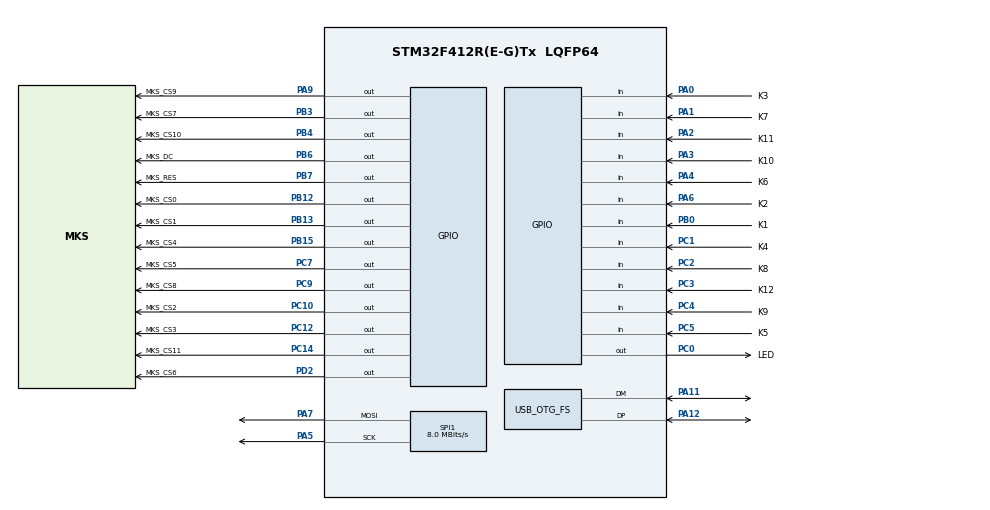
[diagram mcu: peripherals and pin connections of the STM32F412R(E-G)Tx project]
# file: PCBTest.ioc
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Mcu.Family=STM32F4
Mcu.Name=STM32F412R(E-G)Tx
Mcu.Package=LQFP64
NVIC.OTG_FS_IRQn=true\:0\:0\:false\:false\:true\:false\:true
NVIC.PriorityGroup=NVIC_PRIORITYGROUP_4
PA0.GPIO_Label=K3
PA0.GPIO_PuPd=GPIO_PULLUP
PA0.Signal=GPIO_Input
PA1.GPIO_Label=K7
PA1.GPIO_PuPd=GPIO_PULLUP
PA1.Signal=GPIO_Input
PA11.Mode=Device_Only
PA11.Signal=USB_OTG_FS_DM
PA12.Mode=Device_Only
PA12.Signal=USB_OTG_FS_DP
PA13.Mode=Serial_Wire
PA13.Signal=SYS_JTMS-SWDIO
PA14.Mode=Serial_Wire
PA14.Signal=SYS_JTCK-SWCLK
PA2.GPIO_Label=K11
PA2.GPIO_PuPd=GPIO_PULLUP
PA2.Signal=GPIO_Input
PA3.GPIO_Label=K10
PA3.GPIO_PuPd=GPIO_PULLUP
PA3.Signal=GPIO_Input
PA4.GPIO_Label=K6
PA4.GPIO_PuPd=GPIO_PULLUP
PA4.Signal=GPIO_Input
PA5.Mode=TX_Only_Simplex_Unidirect_Master
PA5.Signal=SPI1_SCK
PA6.GPIO_Label=K2
PA6.GPIO_PuPd=GPIO_PULLUP
PA6.Signal=GPIO_Input
PA7.Mode=TX_Only_Simplex_Unidirect_Master
PA7.Signal=SPI1_MOSI
PA9.GPIO_Label=MKS_CS9
PA9.Signal=GPIO_Output
PB0.GPIO_Label=K1
PB0.GPIO_PuPd=GPIO_PULLUP
PB0.Signal=GPIO_Input
PB12.GPIO_Label=MKS_CS0
PB12.Signal=GPIO_Output
PB13.GPIO_Label=MKS_CS1
PB13.Signal=GPIO_Output
PB15.GPIO_Label=MKS_CS4
PB15.Signal=GPIO_Output
PB3.GPIO_Label=MKS_CS7
PB3.Signal=GPIO_Output
PB4.GPIO_Label=MKS_CS10
PB4.Signal=GPIO_Output
PB6.GPIO_Label=MKS_DC
PB6.Signal=GPIO_Output
PB7.GPIO_Label=MKS_RES
PB7.Signal=GPIO_Output
PC0.GPIO_Label=LED
PC0.Signal=GPIO_Output
PC1.GPIO_Label=K4
PC1.GPIO_PuPd=GPIO_PULLUP
PC1.Signal=GPIO_Input
PC10.GPIO_Label=MKS_CS2
PC10.Signal=GPIO_Output
PC12.GPIO_Label=MKS_CS3
PC12.Signal=GPIO_Output
PC14-OSC32_IN.GPIO_Label=MKS_CS11
PC14-OSC32_IN.Signal=GPIO_Output
PC2.GPIO_Label=K8
PC2.GPIO_PuPd=GPIO_PULLUP
PC2.Signal=GPIO_Input
PC3.GPIO_Label=K12
PC3.GPIO_PuPd=GPIO_PULLUP
PC3.Signal=GPIO_Input
PC4.GPIO_Label=K9
PC4.GPIO_PuPd=GPIO_PULLUP
PC4.Signal=GPIO_Input
PC5.GPIO_Label=K5
PC5.GPIO_PuPd=GPIO_PULLUP
PC5.Signal=GPIO_Input
PC7.GPIO_Label=MKS_CS5
PC7.Signal=GPIO_Output
PC9.GPIO_Label=MKS_CS8
PC9.Signal=GPIO_Output
PD2.GPIO_Label=MKS_CS6
PD2.Signal=GPIO_Output
PH0\ -\ OSC_IN.Mode=HSE-External-Oscillator
PH0\ -\ OSC_IN.Signal=RCC_OSC_IN
PH1\ -\ OSC_OUT.Mode=HSE-External-Oscillator
PH1\ -\ OSC_OUT.Signal=RCC_OSC_OUT
ProjectManager.HeapSize=0x200
ProjectManager.StackSize=0x400
ProjectManager.TargetToolchain=STM32CubeIDE
RCC.CortexFreq_Value=16000000
RCC.HSE_VALUE=8000000
RCC.PLLM=4
RCC.PLLN=72
RCC.PLLQ=3
RCC.USBFreq_Value=48000000
RCC.VCOOutputFreq_Value=144000000
SPI1.CalculateBaudRate=8.0 MBits/s
SPI1.Direction=SPI_DIRECTION_2LINES
SPI1.Mode=SPI_MODE_MASTER
SPI1.VirtualType=VM_MASTER
USB_DEVICE.CLASS_NAME_FS=HID
USB_DEVICE.PID_HID_FS=22333
USB_DEVICE.PRODUCT_STRING_HID_FS=Mirakey PCB
USB_DEVICE.VirtualMode=Hid
USB_DEVICE.VirtualModeFS=Hid_FS
USB_OTG_FS.VirtualMode=Device_Only
VP_USB_DEVICE_VS_USB_DEVICE_HID_FS.Mode=HID_FS
board=custom

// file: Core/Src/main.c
/* USER CODE BEGIN Header */
/**
  ******************************************************************************
  * @file           : main.c
  * @brief          : Main program body
  ******************************************************************************
  * @attention
  *
  * Copyright (c) 2022 STMicroelectronics.
  * All rights reserved.
  *
  * This software is licensed under terms that can be found in the LICENSE file
  * in the root directory of this software component.
  * If no LICENSE file comes with this software, it is provided AS-IS.
  *
  ******************************************************************************
  */
/* USER CODE END Header */
#include "main.h"
#include "usb_device.h"

/* USER CODE BEGIN Includes */
#include "key_config.h"
#include "mirakey_send_hid.h"
#include "mirakey_serial.h"
#include "glyphs.h"
/* USER CODE END Includes */

SPI_HandleTypeDef hspi1;

/* USER CODE BEGIN PV */

uint8_t active_layer;
char layer_chars[NUM_LAYERS][11] = LAYER_LAYOUTS;
uint8_t debounced;
int count;
uint8_t key_pressed_in_loop;

/* USER CODE END PV */

void SystemClock_Config(void);
static void MX_GPIO_Init(void);
static void MX_SPI1_Init(void);

/* USER CODE BEGIN 0 */

void ToggleLayer() {
	active_layer = (active_layer + 1) % NUM_LAYERS;
	/* UPDATE DISPLAYS */
	for (int key = 0; key < MKS_NUM_KEYS; key++) {
		MKS_TxGlyph(key, mapCharToBitmap(layer_chars[active_layer][key]));
	}
}

void debounceAndToggleLayer() {
	debounced = 0;
	count = 0;
	while (!debounced) {
		if (LAYER_KEY == KEY_DOWN) {
			count++;
			if (count >= 5) {
				debounced = 1;
			}
		} else {
			count = 0;
		}
	}

	ToggleLayer();

	debounced = 0;
	count = 0;
	while (!debounced) {
		if (LAYER_KEY == KEY_UP) {
			count++;
			if (count >= 5) {
				debounced = 1;
			}
		} else {
			count = 0;
		}
	}
}

/* USER CODE END 0 */

int main(void)
{

  /* MCU Configuration--------------------------------------------------------*/

  /* Reset of all peripherals, Initializes the Flash interface and the Systick. */
  HAL_Init();

  /* Configure the system clock */
  SystemClock_Config();

  /* Initialize all configured peripherals */
  MX_GPIO_Init();
  MX_USB_DEVICE_Init();
  MX_SPI1_Init();
  /* USER CODE BEGIN 2 */

  MKS_Init(&hspi1);
  active_layer = 0;

  /* USER CODE END 2 */

  /* Infinite loop */
  while (1)
  {

    /* USER CODE BEGIN 3 */

	  if (LAYER_KEY == KEY_DOWN) {
		  debounceAndToggleLayer();
	  }

	  key_pressed_in_loop = 0;
	  if (K1 == KEY_DOWN) {
		  hid_send_char(layer_chars[active_layer][0]);
		  key_pressed_in_loop = 1;
	  }

	  if (K2 == KEY_DOWN) {
		  hid_send_char(layer_chars[active_layer][1]);
		  key_pressed_in_loop = 1;
	  }

	  if (K3 == KEY_DOWN) {
		  hid_send_char(layer_chars[active_layer][2]);
		  key_pressed_in_loop = 1;
	  }

	  if (K4 == KEY_DOWN) {
		  hid_send_char(layer_chars[active_layer][3]);
		  key_pressed_in_loop = 1;
	  }

	  if (K5 == KEY_DOWN) {
		  hid_send_char(layer_chars[active_layer][4]);
		  key_pressed_in_loop = 1;
	  }

	  if (K6 == KEY_DOWN) {
		  hid_send_char(layer_chars[active_layer][5]);
		  key_pressed_in_loop = 1;
	  }

	  if (K7 == KEY_DOWN) {
		  hid_send_char(layer_chars[active_layer][6]);
		  key_pressed_in_loop = 1;
	  }

	  if (K8 == KEY_DOWN) {
		  hid_send_char(layer_chars[active_layer][7]);
		  key_pressed_in_loop = 1;
	  }

	  if (K9 == KEY_DOWN) {
		  hid_send_char(layer_chars[active_layer][8]);
		  key_pressed_in_loop = 1;
	  }

	  if (K10 == KEY_DOWN) {
		  hid_send_char(layer_chars[active_layer][9]);
		  key_pressed_in_loop = 1;
	  }

	  if (K11 == KEY_DOWN) {
		  hid_send_char(layer_chars[active_layer][10]);
		  key_pressed_in_loop = 1;
	  }

	  if (!key_pressed_in_loop) {
		  num_times_recent_char_sent = 0;
	  }
  }
  /* USER CODE END 3 */
}

void SystemClock_Config(void)
{
  RCC_OscInitTypeDef RCC_OscInitStruct = {0};
  RCC_ClkInitTypeDef RCC_ClkInitStruct = {0};

  /** Configure the main internal regulator output voltage
  */
  __HAL_RCC_PWR_CLK_ENABLE();
  __HAL_PWR_VOLTAGESCALING_CONFIG(PWR_REGULATOR_VOLTAGE_SCALE1);
  /** Initializes the RCC Oscillators according to the specified parameters
  * in the RCC_OscInitTypeDef structure.
  */
  RCC_OscInitStruct.OscillatorType = RCC_OSCILLATORTYPE_HSI|RCC_OSCILLATORTYPE_HSE;
  RCC_OscInitStruct.HSEState = RCC_HSE_ON;
  RCC_OscInitStruct.HSIState = RCC_HSI_ON;
  RCC_OscInitStruct.HSICalibrationValue = RCC_HSICALIBRATION_DEFAULT;
  RCC_OscInitStruct.PLL.PLLState = RCC_PLL_ON;
  RCC_OscInitStruct.PLL.PLLSource = RCC_PLLSOURCE_HSE;
  RCC_OscInitStruct.PLL.PLLM = 4;
  RCC_OscInitStruct.PLL.PLLN = 72;
  RCC_OscInitStruct.PLL.PLLP = RCC_PLLP_DIV2;
  RCC_OscInitStruct.PLL.PLLQ = 3;
  RCC_OscInitStruct.PLL.PLLR = 2;
  if (HAL_RCC_OscConfig(&RCC_OscInitStruct) != HAL_OK)
  {
    Error_Handler();
  }
  /** Initializes the CPU, AHB and APB buses clocks
  */
  RCC_ClkInitStruct.ClockType = RCC_CLOCKTYPE_HCLK|RCC_CLOCKTYPE_SYSCLK
                              |RCC_CLOCKTYPE_PCLK1|RCC_CLOCKTYPE_PCLK2;
  RCC_ClkInitStruct.SYSCLKSource = RCC_SYSCLKSOURCE_HSI;
  RCC_ClkInitStruct.AHBCLKDivider = RCC_SYSCLK_DIV1;
  RCC_ClkInitStruct.APB1CLKDivider = RCC_HCLK_DIV1;
  RCC_ClkInitStruct.APB2CLKDivider = RCC_HCLK_DIV1;

  if (HAL_RCC_ClockConfig(&RCC_ClkInitStruct, FLASH_LATENCY_0) != HAL_OK)
  {
    Error_Handler();
  }
}

static void MX_SPI1_Init(void)
{

  /* SPI1 parameter configuration*/
  hspi1.Instance = SPI1;
  hspi1.Init.Mode = SPI_MODE_MASTER;
  hspi1.Init.Direction = SPI_DIRECTION_2LINES;
  hspi1.Init.DataSize = SPI_DATASIZE_8BIT;
  hspi1.Init.CLKPolarity = SPI_POLARITY_LOW;
  hspi1.Init.CLKPhase = SPI_PHASE_1EDGE;
  hspi1.Init.NSS = SPI_NSS_SOFT;
  hspi1.Init.BaudRatePrescaler = SPI_BAUDRATEPRESCALER_2;
  hspi1.Init.FirstBit = SPI_FIRSTBIT_MSB;
  hspi1.Init.TIMode = SPI_TIMODE_DISABLE;
  hspi1.Init.CRCCalculation = SPI_CRCCALCULATION_DISABLE;
  hspi1.Init.CRCPolynomial = 10;
  if (HAL_SPI_Init(&hspi1) != HAL_OK)
  {
    Error_Handler();
  }

}

static void MX_GPIO_Init(void)
{
  GPIO_InitTypeDef GPIO_InitStruct = {0};

  /* GPIO Ports Clock Enable */
  __HAL_RCC_GPIOH_CLK_ENABLE();
  __HAL_RCC_GPIOC_CLK_ENABLE();
  __HAL_RCC_GPIOA_CLK_ENABLE();
  __HAL_RCC_GPIOB_CLK_ENABLE();

  /*Configure GPIO pin Output Level */
  HAL_GPIO_WritePin(GPIOC, LED_Pin|MKS_CS5_Pin|MKS_CS2_Pin|MKS_CS3_Pin, GPIO_PIN_RESET);

  /*Configure GPIO pin Output Level */
  HAL_GPIO_WritePin(GPIOB, MKS_CS0_Pin|MKS_CS1_Pin|MKS_CS4_Pin|MKS_CS7_Pin
                          |MKS_DC_Pin|MKS_RES_Pin, GPIO_PIN_RESET);

  /*Configure GPIO pin Output Level */
  HAL_GPIO_WritePin(MKS_CS6_GPIO_Port, MKS_CS6_Pin, GPIO_PIN_RESET);

  /*Configure GPIO pins : LED_Pin MKS_CS5_Pin MKS_CS2_Pin MKS_CS3_Pin */
  GPIO_InitStruct.Pin = LED_Pin|MKS_CS5_Pin|MKS_CS2_Pin|MKS_CS3_Pin;
  GPIO_InitStruct.Mode = GPIO_MODE_OUTPUT_PP;
  GPIO_InitStruct.Pull = GPIO_NOPULL;
  GPIO_InitStruct.Speed = GPIO_SPEED_FREQ_LOW;
  HAL_GPIO_Init(GPIOC, &GPIO_InitStruct);

  /*Configure GPIO pins : K4_Pin K8_Pin K12_Pin K9_Pin
                           K5_Pin */
  GPIO_InitStruct.Pin = K4_Pin|K8_Pin|K12_Pin|K9_Pin
                          |K5_Pin;
  GPIO_InitStruct.Mode = GPIO_MODE_INPUT;
  GPIO_InitStruct.Pull = GPIO_PULLUP;
  HAL_GPIO_Init(GPIOC, &GPIO_InitStruct);

  /*Configure GPIO pins : K3_Pin K7_Pin K11_Pin K10_Pin
                           K6_Pin K2_Pin */
  GPIO_InitStruct.Pin = K3_Pin|K7_Pin|K11_Pin|K10_Pin
                          |K6_Pin|K2_Pin;
  GPIO_InitStruct.Mode = GPIO_MODE_INPUT;
  GPIO_InitStruct.Pull = GPIO_PULLUP;
  HAL_GPIO_Init(GPIOA, &GPIO_InitStruct);

  /*Configure GPIO pin : K1_Pin */
  GPIO_InitStruct.Pin = K1_Pin;
  GPIO_InitStruct.Mode = GPIO_MODE_INPUT;
  GPIO_InitStruct.Pull = GPIO_PULLUP;
  HAL_GPIO_Init(K1_GPIO_Port, &GPIO_InitStruct);

  /*Configure GPIO pins : MKS_CS0_Pin MKS_CS1_Pin MKS_CS4_Pin MKS_CS7_Pin
                           MKS_DC_Pin MKS_RES_Pin */
  GPIO_InitStruct.Pin = MKS_CS0_Pin|MKS_CS1_Pin|MKS_CS4_Pin|MKS_CS7_Pin
                          |MKS_DC_Pin|MKS_RES_Pin;
  GPIO_InitStruct.Mode = GPIO_MODE_OUTPUT_PP;
  GPIO_InitStruct.Pull = GPIO_NOPULL;
  GPIO_InitStruct.Speed = GPIO_SPEED_FREQ_LOW;
  HAL_GPIO_Init(GPIOB, &GPIO_InitStruct);

  /*Configure GPIO pin : MKS_CS6_Pin */
  GPIO_InitStruct.Pin = MKS_CS6_Pin;
  GPIO_InitStruct.Mode = GPIO_MODE_OUTPUT_PP;
  GPIO_InitStruct.Pull = GPIO_NOPULL;
  GPIO_InitStruct.Speed = GPIO_SPEED_FREQ_LOW;
  HAL_GPIO_Init(MKS_CS6_GPIO_Port, &GPIO_InitStruct);

}

void Error_Handler(void)
{
  __disable_irq();
  while (1)
  {
  }
}
